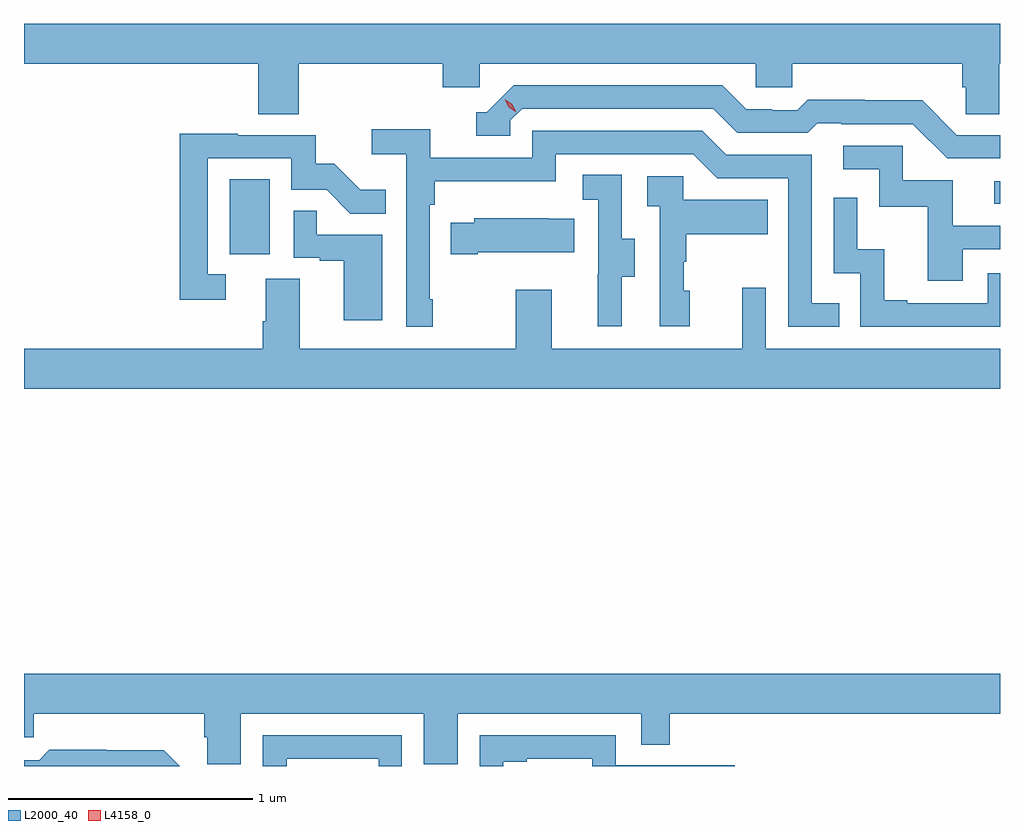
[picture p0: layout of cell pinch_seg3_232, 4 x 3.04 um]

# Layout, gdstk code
import gdstk
lib = gdstk.Library(unit=1e-6, precision=1e-09)
def R(c, l, rs):  # rectangles x0, y0, x1, y1
    for r in rs: c.add(gdstk.rectangle(r[:2], r[2:], *l))
def P(c, l, *ps):  # polygons
    for p in ps: c.add(gdstk.Polygon(p, *l))
L2000_40 = (2000, 40)
L4158_0 = (4158, 0)

pinch_seg3_232 = lib.new_cell('pinch_seg3_232')
R(pinch_seg3_232, L2000_40, [(912.128,734.766,912.292,735.073), (915.261,734.973,915.285,735.066)])
P(pinch_seg3_232, L2000_40, [(912.41,735.548),(913.001,735.548),(913.001,735.45),(913.152,735.45),(913.152,735.548),(914.283,735.548),(914.283,735.45),(914.433,735.45),(914.433,735.548),(915.131,735.548),(915.131,735.45),(915.145,735.45),(915.145,735.34),(915.282,735.34),(915.282,735.548),(915.285,735.548),(915.285,735.712),(911.285,735.712),(911.285,735.548),(912.245,735.548),(912.245,735.34),(912.41,735.34)],
  [(915.285,735.255),(915.108,735.255),(914.966,735.397),(914.73,735.397),(914.73,735.4),(914.497,735.4),(914.455,735.357),(914.352,735.357),(914.352,735.36),(914.245,735.36),(914.146,735.459),(913.293,735.459),(913.182,735.348),(913.139,735.348),(913.139,735.252),(913.278,735.252),(913.278,735.315),(913.326,735.363),(914.109,735.363),(914.208,735.264),(914.497,735.264),(914.536,735.303),(914.635,735.303),(914.635,735.3),(914.928,735.3),(915.069,735.159),(915.285,735.159)],
  [(912.961,734.581),(912.948,734.581),(912.948,734.969),(912.968,734.969),(912.968,735.065),(913.464,735.065),(913.464,735.177),(914.028,735.177),(914.127,735.078),(914.418,735.078),(914.418,734.469),(914.627,734.469),(914.627,734.565),(914.514,734.565),(914.514,735.174),(914.164,735.174),(914.065,735.273),(913.368,735.273),(913.368,735.162),(912.95,735.162),(912.95,735.278),(912.711,735.278),(912.711,735.176),(912.852,735.176),(912.852,734.469),(912.961,734.469)],
  [(912.112,734.685),(912.039,734.685),(912.039,735.159),(912.381,735.159),(912.381,735.03),(912.525,735.03),(912.623,734.932),(912.767,734.932),(912.767,735.031),(912.663,735.031),(912.556,735.138),(912.48,735.138),(912.48,735.255),(912.161,735.255),(912.161,735.26),(911.923,735.26),(911.923,734.58),(912.112,734.58)],
  [(915.133,734.787),(915.285,734.787),(915.285,734.883),(915.091,734.883),(915.091,735.069),(914.886,735.069),(914.886,735.21),(914.643,735.21),(914.643,735.114),(914.79,735.114),(914.79,734.961),(914.989,734.961),(914.989,734.658),(915.133,734.658)],
  [(913.735,734.674),(913.789,734.674),(913.789,734.829),(913.734,734.829),(913.734,735.092),(913.575,735.092),(913.575,734.989),(913.638,734.989),(913.638,734.685),(913.637,734.685),(913.637,734.472),(913.735,734.472)],
  [(914.014,734.616),(913.989,734.616),(913.989,734.735),(913.999,734.735),(913.999,734.849),(914.333,734.849),(914.333,734.989),(913.986,734.989),(913.986,735.087),(913.839,735.087),(913.839,734.963),(913.89,734.963),(913.89,734.472),(914.014,734.472)],
  [(915.285,734.688),(915.234,734.688),(915.234,734.565),(914.905,734.565),(914.905,734.578),(914.81,734.578),(914.81,734.786),(914.7,734.786),(914.7,734.998),(914.604,734.998),(914.604,734.688),(914.712,734.688),(914.712,734.469),(915.285,734.469)],
  [(912.754,734.847),(912.485,734.847),(912.485,734.945),(912.39,734.945),(912.39,734.751),(912.497,734.751),(912.497,734.739),(912.596,734.739),(912.596,734.496),(912.754,734.496)],
  [(913.144,734.774),(913.541,734.774),(913.541,734.911),(913.433,734.911),(913.433,734.914),(913.131,734.914),(913.131,734.896),(913.033,734.896),(913.033,734.767),(913.144,734.767)],
  [(915.285,734.38),(914.325,734.38),(914.325,734.629),(914.228,734.629),(914.228,734.38),(913.447,734.38),(913.447,734.62),(913.3,734.62),(913.3,734.38),(912.415,734.38),(912.415,734.666),(912.275,734.666),(912.275,734.492),(912.263,734.492),(912.263,734.38),(911.285,734.38),(911.285,734.216),(915.285,734.216)],
  [(912.174,732.884),(912.924,732.884),(912.924,732.676),(913.063,732.676),(913.063,732.884),(913.815,732.884),(913.815,732.757),(913.931,732.757),(913.931,732.884),(915.285,732.884),(915.285,733.048),(911.285,733.048),(911.285,732.786),(911.325,732.786),(911.325,732.884),(912.023,732.884),(912.023,732.786),(912.037,732.786),(912.037,732.676),(912.174,732.676)],
  [(913.249,732.687),(913.345,732.687),(913.345,732.699),(913.614,732.699),(913.614,732.667),(914.197,732.667),(914.197,732.672),(913.71,732.672),(913.71,732.795),(913.152,732.795),(913.152,732.667),(913.249,732.667)],
  [(912.361,732.699),(912.738,732.699),(912.738,732.667),(912.834,732.667),(912.834,732.795),(912.264,732.795),(912.264,732.667),(912.361,732.667)],
  [(911.858,732.733),(911.622,732.733),(911.622,732.736),(911.389,732.736),(911.347,732.693),(911.285,732.693),(911.285,732.667),(911.924,732.667)])
P(pinch_seg3_232, L4158_0, [(913.302,735.349),(913.271,735.369),(913.255,735.401),(913.255,735.402),(913.256,735.402),(913.286,735.382),(913.302,735.349),(913.302,735.349)])

lib.write_gds('pinch_seg3_232.gds')
